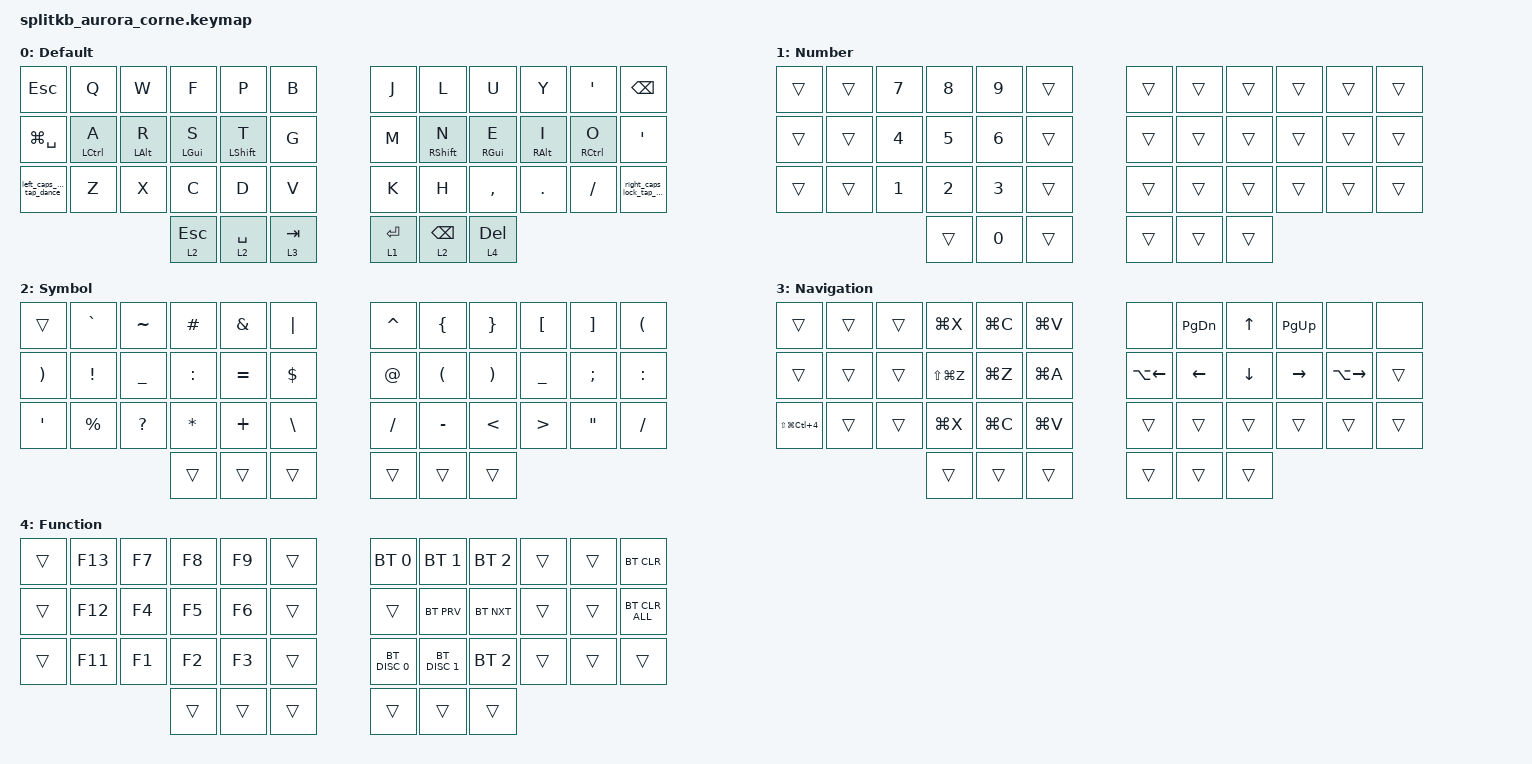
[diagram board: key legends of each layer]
#include <behaviors.dtsi>
#include <dt-bindings/zmk/bt.h>
#include <dt-bindings/zmk/keys.h>

/ {
    combos {
        compatible = "zmk,combos";

        /* Rectangle / window management combos on Layer 6 (DevNumRow) */
    };

    behaviors {
        hrt: hrt {
            compatible = "zmk,behavior-hold-tap";
            label = "HOME_ROW_TAP";
            bindings = <&kp>, <&kp>;

            #binding-cells = <2>;
            tapping-term-ms = <200>;
            quick-tap-ms = <0>;
            flavor = "balanced";
        };

        new_behavior: new_behavior {
            compatible = "zmk,behavior-caps-word";
            label = "NEW_BEHAVIOR";
            #binding-cells = <0>;
            continue-list = <UNDERSCORE MINUS DOT>;
        };

        left_caps_lock_tap_dance: left_caps_lock_tap_dance {
            compatible = "zmk,behavior-tap-dance";
            label = "LEFT_CAPS_LOCK_TAP_DANCE";
            #binding-cells = <0>;
            tapping-term-ms = <200>;
            bindings = <&kp LEFT_SHIFT>, <&kp CAPSLOCK>;
        };

        right_caps_lock_tap_dance: right_caps_lock_tap_dance {
            compatible = "zmk,behavior-tap-dance";
            label = "RIGHT_CAPS_LOCK_TAP_DANCE";
            #binding-cells = <0>;
            bindings = <&kp RIGHT_SHIFT>, <&caps_word>;

            tapping-term-ms = <200>;
        };
    };

    macros {
        closeHtml: closeHtml {
            compatible = "zmk,behavior-macro";
            #binding-cells = <0>;
            bindings = <&kp FSLH &kp GT>;
            label = "CLOSEHTML";
        };
    };

    keymap {
        compatible = "zmk,keymap";

        Default {
            // Base (your current layout, unchanged)

            bindings = <
&kp ESCAPE                 &kp Q                &kp W            &kp F            &kp P              &kp B        &kp J        &kp L               &kp U             &kp Y             &kp SQT       &kp BSPC
&kp LG(SPACE)              &hrt LEFT_CONTROL A  &hrt LEFT_ALT R  &hrt LEFT_GUI S  &hrt LEFT_SHIFT T  &kp G        &kp M        &hrt RIGHT_SHIFT N  &hrt RIGHT_GUI E  &hrt RIGHT_ALT I  &hrt RCTRL O  &kp SQT
&left_caps_lock_tap_dance  &kp Z                &kp X            &kp C            &kp D              &kp V        &kp K        &kp H               &kp COMMA         &kp DOT           &kp FSLH      &right_caps_lock_tap_dance
                                                                 &lt 2 ESCAPE     &lt 2 SPACE        &lt 3 TAB    &lt 1 ENTER  &lt 2 BACKSPACE     &lt 4 DEL
            >;
        };

        Number {
            bindings = <
&trans  &trans  &kp N7  &kp N8  &kp N9  &trans    &trans  &trans  &trans  &trans  &trans  &trans
&trans  &trans  &kp N4  &kp N5  &kp N6  &trans    &trans  &trans  &trans  &trans  &trans  &trans
&trans  &trans  &kp N1  &kp N2  &kp N3  &trans    &trans  &trans  &trans  &trans  &trans  &trans
                        &trans  &kp N0  &trans    &trans  &trans  &trans
            >;
        };

        Symbol {
            bindings = <
&trans                 &kp GRAVE        &kp TILDE       &kp HASH      &kp AMPERSAND  &kp PIPE      &kp CARET    &kp LEFT_BRACE        &kp RIGHT_BRACE        &kp LEFT_BRACKET  &kp RIGHT_BRACKET  &kp LEFT_PARENTHESIS
&kp RIGHT_PARENTHESIS  &kp EXCLAMATION  &kp UNDERSCORE  &kp COLON     &kp EQUAL      &kp DOLLAR    &kp AT_SIGN  &kp LEFT_PARENTHESIS  &kp RIGHT_PARENTHESIS  &kp UNDERSCORE    &kp SEMICOLON      &kp COLON
&kp SQT                &kp PERCENT      &kp QUESTION    &kp ASTERISK  &kp PLUS       &kp BSLH      &kp SLASH    &kp MINUS             &kp LESS_THAN          &kp GREATER_THAN  &kp DOUBLE_QUOTES  &kp FSLH
                                                        &trans        &trans         &trans        &trans       &trans                &trans
            >;
        };

        Navigation {
            bindings = <
&trans                    &trans  &trans  &kp LG(X)      &kp LG(C)  &kp LG(V)    &none               &kp PAGE_DOWN   &kp UP_ARROW  &kp PAGE_UP  &none          &none
&trans                    &trans  &trans  &kp LS(LG(Z))  &kp LG(Z)  &kp LG(A)    &kp LA(LEFT_ARROW)  &kp LEFT_ARROW  &kp DOWN      &kp RIGHT    &kp LA(RIGHT)  &trans
&kp LS(LG(LC(NUMBER_4)))  &trans  &trans  &kp LG(X)      &kp LG(C)  &kp LG(V)    &trans              &trans          &trans        &trans       &trans         &trans
                                          &trans         &trans     &trans       &trans              &trans          &trans
            >;
        };

        Function {
            bindings = <
&trans  &kp F13  &kp F7  &kp F8  &kp F9  &trans    &bt BT_SEL 0   &bt BT_SEL 1   &bt BT_SEL 2  &trans  &trans  &bt BT_CLR
&trans  &kp F12  &kp F4  &kp F5  &kp F6  &trans    &trans         &bt BT_PRV     &bt BT_NXT    &trans  &trans  &bt BT_CLR_ALL
&trans  &kp F11  &kp F1  &kp F2  &kp F3  &trans    &bt BT_DISC 0  &bt BT_DISC 1  &bt BT_SEL 2  &trans  &trans  &trans
                         &trans  &trans  &trans    &trans         &trans         &trans
            >;
        };

        /*
         * Layer 6: DevNumRow (repurposes your old Music layer)
         * - Restores "number-row" muscle memory for coding:
         *   Left: 1 2 3 4 5  |  Right: 6 7 8 9 0
         * - Hold Shift on base (home-row shift) to get !@#$%^&*()
         * - Your existing layer-6 combos remain on this layer.
         */
    };
};
